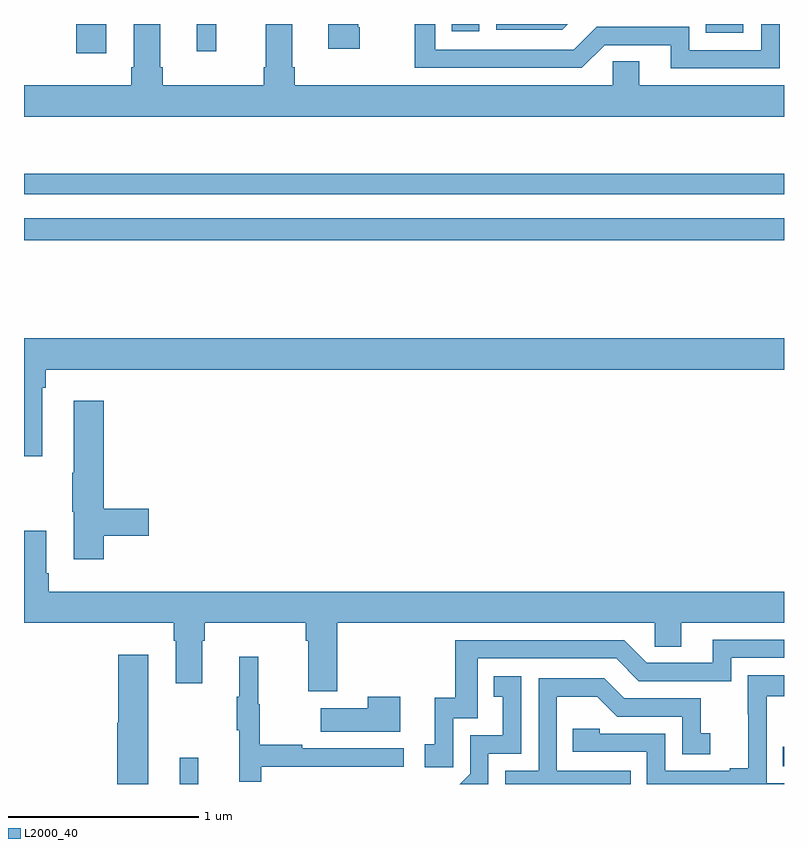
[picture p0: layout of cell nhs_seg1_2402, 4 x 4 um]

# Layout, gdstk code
import gdstk
lib = gdstk.Library(unit=1e-6, precision=1e-09)
def R(c, l, rs):  # rectangles x0, y0, x1, y1
    for r in rs: c.add(gdstk.rectangle(r[:2], r[2:], *l))
def P(c, l, *ps):  # polygons
    for p in ps: c.add(gdstk.Polygon(p, *l))
L2000_40 = (2000, 40)

nhs_seg1_2402 = lib.new_cell('nhs_seg1_2402')
R(nhs_seg1_2402, L2000_40, [(241.82,568.199,241.917,568.336), (244.993,568.293,245,568.394), (241,571.06,245,571.176), (241,571.302,245,571.411), (241.274,572.046,241.432,572.199), (241.91,572.055,242.012,572.199), (244.588,572.153,244.786,572.199), (243.25,572.16,243.396,572.199)])
P(nhs_seg1_2402, L2000_40, [(245,571.876),(244.237,571.876),(244.237,572.003),(244.098,572.003),(244.098,571.876),(242.426,571.876),(242.426,571.972),(242.413,571.972),(242.413,572.199),(242.273,572.199),(242.273,571.972),(242.261,571.972),(242.261,571.876),(241.73,571.876),(241.73,571.972),(241.717,571.972),(241.717,572.197),(241.577,572.197),(241.577,571.972),(241.565,571.972),(241.565,571.876),(241,571.876),(241,571.712),(245,571.712)],
  [(243.862,572.199),(243.486,572.199),(243.486,572.169),(243.832,572.169)],
  [(242.766,572.182),(242.758,572.182),(242.758,572.199),(242.6,572.199),(242.6,572.07),(242.766,572.07)],
  [(244.977,572.199),(244.881,572.199),(244.881,572.061),(244.5,572.061),(244.5,572.184),(244.014,572.184),(243.894,572.064),(243.165,572.064),(243.165,572.199),(243.057,572.199),(243.057,571.968),(243.936,571.968),(244.056,572.088),(244.403,572.088),(244.403,571.965),(244.977,571.965)],
  [(241.096,570.284),(241.115,570.284),(241.115,570.38),(245,570.38),(245,570.544),(241,570.544),(241,569.925),(241.096,569.925)],
  [(241.421,569.506),(241.657,569.506),(241.657,569.648),(241.421,569.648),(241.421,570.217),(241.262,570.217),(241.262,569.837),(241.255,569.837),(241.255,569.631),(241.262,569.631),(241.262,569.382),(241.421,569.382)],
  [(242.648,569.048),(244.32,569.048),(244.32,568.921),(244.459,568.921),(244.459,569.048),(245,569.048),(245,569.212),(241.13,569.212),(241.13,569.308),(241.117,569.308),(241.117,569.533),(241,569.533),(241,569.048),(241.787,569.048),(241.787,568.952),(241.799,568.952),(241.799,568.728),(241.939,568.728),(241.939,568.952),(241.952,568.952),(241.952,569.048),(242.483,569.048),(242.483,568.952),(242.495,568.952),(242.495,568.686),(242.648,568.686)],
  [(243.258,568.545),(243.387,568.545),(243.387,568.86),(244.116,568.86),(244.236,568.74),(244.722,568.74),(244.722,568.863),(245,568.863),(245,568.959),(244.625,568.959),(244.625,568.836),(244.278,568.836),(244.158,568.956),(243.271,568.956),(243.271,568.654),(243.161,568.654),(243.161,568.407),(243.108,568.407),(243.108,568.287),(243.258,568.287)],
  [(241.654,568.879),(241.496,568.879),(241.496,568.521),(241.49,568.521),(241.49,568.199),(241.654,568.199)],
  [(242.249,568.29),(242.998,568.29),(242.998,568.386),(242.465,568.386),(242.465,568.406),(242.242,568.406),(242.242,568.62),(242.234,568.62),(242.234,568.87),(242.132,568.87),(242.132,568.657),(242.121,568.657),(242.121,568.483),(242.132,568.483),(242.132,568.212),(242.249,568.212)],
  [(245,568.203),(244.908,568.203),(244.908,568.433),(244.91,568.433),(244.91,568.661),(245,568.661),(245,568.771),(244.81,568.771),(244.81,568.565),(244.811,568.565),(244.811,568.282),(244.715,568.282),(244.715,568.269),(244.374,568.269),(244.374,568.464),(244.029,568.464),(244.029,568.491),(243.889,568.491),(243.889,568.368),(244.278,568.368),(244.278,568.199),(245,568.199)],
  [(243.444,568.359),(243.618,568.359),(243.618,568.765),(243.472,568.765),(243.472,568.659),(243.521,568.659),(243.521,568.455),(243.348,568.455),(243.348,568.254),(243.293,568.199),(243.444,568.199)],
  [(244.193,568.269),(243.804,568.269),(243.804,568.658),(244.018,568.658),(244.122,568.554),(244.464,568.554),(244.464,568.356),(244.612,568.356),(244.612,568.465),(244.563,568.465),(244.563,568.65),(244.159,568.65),(244.054,568.755),(243.708,568.755),(243.708,568.269),(243.534,568.269),(243.534,568.199),(244.193,568.199)],
  [(242.98,568.657),(242.81,568.657),(242.81,568.597),(242.561,568.597),(242.561,568.475),(242.98,568.475)])

lib.write_gds('nhs_seg1_2402.gds')
